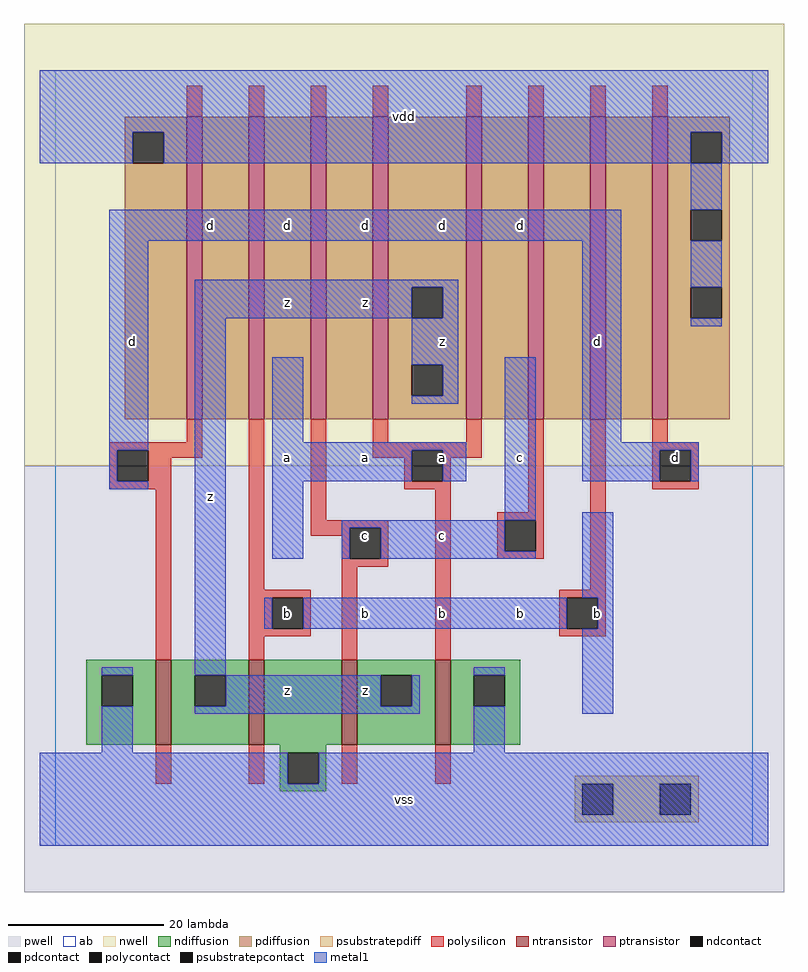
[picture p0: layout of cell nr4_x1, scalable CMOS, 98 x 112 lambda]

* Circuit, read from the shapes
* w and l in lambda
.subckt nr4_x1 a b c d vdd vss z
M1 z d vss vss nfet w=11 l=2
M2 vss b z vss nfet w=11 l=2
M3 z c vss vss nfet w=11 l=2
M4 vss a z vss nfet w=11 l=2
M5 n1 d vdd n2 pfet w=39 l=2
M6 n3 b n1 n2 pfet w=39 l=2
M7 n4 c n3 n2 pfet w=39 l=2
M8 z a n4 n2 pfet w=39 l=2
M9 n5 a z n2 pfet w=39 l=2
M10 n6 c n5 n2 pfet w=39 l=2
M11 n7 b n6 n2 pfet w=39 l=2
M12 vdd d n7 n2 pfet w=39 l=2
.ends

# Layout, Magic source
magic
tech scmos
<< ab >>
rect 0 0 90 100
<< pwell >>
rect -4 -6 94 49
<< nwell >>
rect -4 49 94 106
<< polysilicon >>
rect 17 94 19 98
rect 25 94 27 98
rect 33 94 35 98
rect 41 94 43 98
rect 53 94 55 98
rect 61 94 63 98
rect 69 94 71 98
rect 77 94 79 98
rect 17 52 19 55
rect 7 51 19 52
rect 7 47 8 51
rect 12 50 19 51
rect 12 47 15 50
rect 7 46 15 47
rect 13 24 15 46
rect 25 33 27 55
rect 33 42 35 55
rect 41 52 43 55
rect 53 52 55 55
rect 41 51 55 52
rect 41 50 46 51
rect 45 47 46 50
rect 50 50 55 51
rect 50 47 51 50
rect 45 46 51 47
rect 33 41 43 42
rect 33 40 38 41
rect 37 37 38 40
rect 42 37 43 41
rect 37 36 43 37
rect 25 32 33 33
rect 25 28 28 32
rect 32 28 33 32
rect 25 27 33 28
rect 25 24 27 27
rect 37 24 39 36
rect 49 24 51 46
rect 61 43 63 55
rect 57 42 63 43
rect 57 38 58 42
rect 62 38 63 42
rect 57 37 63 38
rect 69 33 71 55
rect 77 52 79 55
rect 77 51 83 52
rect 77 47 78 51
rect 82 47 83 51
rect 77 46 83 47
rect 65 32 71 33
rect 65 28 66 32
rect 70 28 71 32
rect 65 27 71 28
rect 13 8 15 13
rect 25 8 27 13
rect 37 8 39 13
rect 49 8 51 13
<< ndiffusion >>
rect 4 22 13 24
rect 4 18 6 22
rect 10 18 13 22
rect 4 13 13 18
rect 15 22 25 24
rect 15 18 18 22
rect 22 18 25 22
rect 15 13 25 18
rect 27 13 37 24
rect 39 22 49 24
rect 39 18 42 22
rect 46 18 49 22
rect 39 13 49 18
rect 51 22 60 24
rect 51 18 54 22
rect 58 18 60 22
rect 51 13 60 18
rect 29 12 35 13
rect 29 8 30 12
rect 34 8 35 12
rect 29 7 35 8
<< pdiffusion >>
rect 9 92 17 94
rect 9 88 10 92
rect 14 88 17 92
rect 9 55 17 88
rect 19 55 25 94
rect 27 55 33 94
rect 35 55 41 94
rect 43 72 53 94
rect 43 68 46 72
rect 50 68 53 72
rect 43 62 53 68
rect 43 58 46 62
rect 50 58 53 62
rect 43 55 53 58
rect 55 55 61 94
rect 63 55 69 94
rect 71 55 77 94
rect 79 92 87 94
rect 79 88 82 92
rect 86 88 87 92
rect 79 82 87 88
rect 79 78 82 82
rect 86 78 87 82
rect 79 72 87 78
rect 79 68 82 72
rect 86 68 87 72
rect 79 55 87 68
<< metal1 >>
rect -2 92 92 100
rect -2 88 10 92
rect 14 88 82 92
rect 86 88 92 92
rect 82 82 86 88
rect 7 78 73 82
rect 7 51 12 78
rect 7 47 8 51
rect 7 46 12 47
rect 18 72 52 73
rect 18 68 46 72
rect 50 68 52 72
rect 6 22 10 23
rect 6 12 10 18
rect 18 22 22 68
rect 28 52 32 63
rect 46 62 52 68
rect 50 58 52 62
rect 46 57 52 58
rect 28 51 53 52
rect 28 47 46 51
rect 50 47 53 51
rect 28 37 32 47
rect 58 42 62 63
rect 68 52 73 78
rect 82 72 86 78
rect 82 67 86 68
rect 68 51 83 52
rect 68 47 78 51
rect 82 47 83 51
rect 37 41 58 42
rect 37 37 38 41
rect 42 38 58 41
rect 42 37 62 38
rect 68 32 72 43
rect 27 28 28 32
rect 32 28 66 32
rect 70 28 72 32
rect 54 22 58 23
rect 22 18 42 22
rect 46 18 47 22
rect 18 17 47 18
rect 54 12 58 18
rect 68 17 72 28
rect -2 8 30 12
rect 34 8 92 12
rect -2 0 92 8
<< ntransistor >>
rect 13 13 15 24
rect 25 13 27 24
rect 37 13 39 24
rect 49 13 51 24
<< ptransistor >>
rect 17 55 19 94
rect 25 55 27 94
rect 33 55 35 94
rect 41 55 43 94
rect 53 55 55 94
rect 61 55 63 94
rect 69 55 71 94
rect 77 55 79 94
<< polycontact >>
rect 8 47 12 51
rect 46 47 50 51
rect 38 37 42 41
rect 28 28 32 32
rect 58 38 62 42
rect 78 47 82 51
rect 66 28 70 32
<< ndcontact >>
rect 6 18 10 22
rect 18 18 22 22
rect 42 18 46 22
rect 54 18 58 22
rect 30 8 34 12
<< pdcontact >>
rect 10 88 14 92
rect 46 68 50 72
rect 46 58 50 62
rect 82 88 86 92
rect 82 78 86 82
rect 82 68 86 72
<< psubstratepcontact >>
rect 68 4 72 8
rect 78 4 82 8
<< psubstratepdiff >>
rect 67 8 83 9
rect 67 4 68 8
rect 72 4 78 8
rect 82 4 83 8
rect 67 3 83 4
<< labels >>
rlabel metal1 10 65 10 65 6 d
rlabel metal1 10 65 10 65 6 d
rlabel metal1 30 20 30 20 6 z
rlabel metal1 30 20 30 20 6 z
rlabel polycontact 30 30 30 30 6 b
rlabel polycontact 30 30 30 30 6 b
rlabel metal1 20 45 20 45 6 z
rlabel metal1 20 45 20 45 6 z
rlabel metal1 30 50 30 50 6 a
rlabel metal1 30 50 30 50 6 a
rlabel metal1 30 70 30 70 6 z
rlabel metal1 30 70 30 70 6 z
rlabel metal1 30 80 30 80 6 d
rlabel metal1 30 80 30 80 6 d
rlabel metal1 20 80 20 80 6 d
rlabel metal1 20 80 20 80 6 d
rlabel metal1 45 6 45 6 6 vss
rlabel metal1 45 6 45 6 6 vss
rlabel metal1 40 20 40 20 6 z
rlabel metal1 40 20 40 20 6 z
rlabel metal1 50 30 50 30 6 b
rlabel metal1 40 30 40 30 6 b
rlabel metal1 40 30 40 30 6 b
rlabel metal1 50 30 50 30 6 b
rlabel metal1 50 40 50 40 6 c
rlabel polycontact 40 40 40 40 6 c
rlabel polycontact 40 40 40 40 6 c
rlabel metal1 50 40 50 40 6 c
rlabel metal1 50 50 50 50 6 a
rlabel metal1 40 50 40 50 6 a
rlabel metal1 50 50 50 50 6 a
rlabel metal1 40 50 40 50 6 a
rlabel metal1 50 65 50 65 6 z
rlabel metal1 40 70 40 70 6 z
rlabel metal1 40 70 40 70 6 z
rlabel metal1 50 65 50 65 6 z
rlabel metal1 50 80 50 80 6 d
rlabel metal1 40 80 40 80 6 d
rlabel metal1 40 80 40 80 6 d
rlabel metal1 50 80 50 80 6 d
rlabel metal1 45 94 45 94 6 vdd
rlabel metal1 45 94 45 94 6 vdd
rlabel metal1 70 30 70 30 6 b
rlabel metal1 60 30 60 30 6 b
rlabel metal1 70 30 70 30 6 b
rlabel metal1 60 30 60 30 6 b
rlabel metal1 60 50 60 50 6 c
rlabel metal1 60 50 60 50 6 c
rlabel metal1 70 65 70 65 6 d
rlabel metal1 70 65 70 65 6 d
rlabel metal1 60 80 60 80 6 d
rlabel metal1 60 80 60 80 6 d
rlabel polycontact 80 50 80 50 6 d
rlabel polycontact 80 50 80 50 6 d
<< end >>
